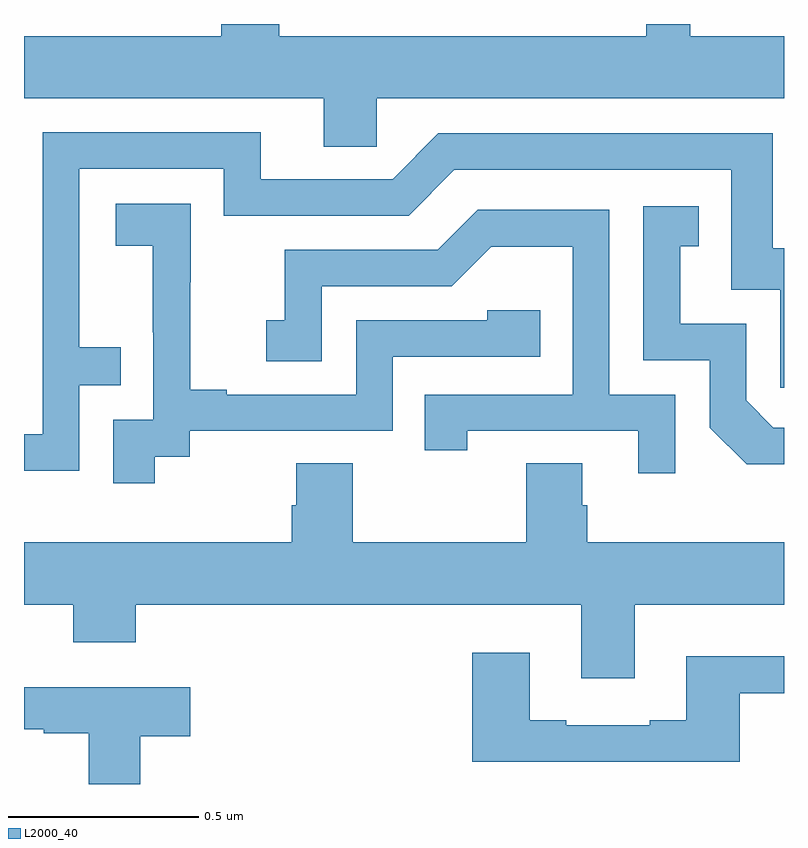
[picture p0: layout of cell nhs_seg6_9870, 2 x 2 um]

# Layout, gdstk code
import gdstk
lib = gdstk.Library(unit=1e-6, precision=1e-09)
def P(c, l, *ps):  # polygons
    for p in ps: c.add(gdstk.Polygon(p, *l))
L2000_40 = (2000, 40)

nhs_seg6_9870 = lib.new_cell('nhs_seg6_9870')
P(nhs_seg6_9870, L2000_40, [(239.928,979.304),(241,979.304),(241,979.468),(240.753,979.468),(240.753,979.5),(240.637,979.5),(240.637,979.468),(239.672,979.468),(239.672,979.5),(239.519,979.5),(239.519,979.468),(239,979.468),(239,979.304),(239.789,979.304),(239.789,979.177),(239.928,979.177)],
  [(239.145,978.549),(239.255,978.549),(239.255,978.65),(239.145,978.65),(239.145,979.119),(239.526,979.119),(239.526,978.996),(240.012,978.996),(240.132,979.116),(240.861,979.116),(240.861,978.801),(240.99,978.801),(240.99,978.543),(241,978.543),(241,978.91),(240.97,978.91),(240.97,979.212),(240.09,979.212),(239.97,979.092),(239.623,979.092),(239.623,979.215),(239.049,979.215),(239.049,978.42),(239,978.42),(239,978.324),(239.145,978.324)],
  [(239.344,978.361),(239.436,978.361),(239.436,978.429),(239.97,978.429),(239.97,978.624),(240.359,978.624),(240.359,978.747),(240.219,978.747),(240.219,978.72),(239.874,978.72),(239.874,978.525),(239.533,978.525),(239.533,978.538),(239.438,978.538),(239.438,978.821),(239.439,978.821),(239.439,979.027),(239.241,979.027),(239.241,978.917),(239.339,978.917),(239.339,978.689),(239.34,978.689),(239.34,978.459),(239.235,978.459),(239.235,978.291),(239.344,978.291)],
  [(241,978.438),(240.972,978.438),(240.9,978.51),(240.9,978.711),(240.727,978.711),(240.727,978.915),(240.776,978.915),(240.776,979.021),(240.63,979.021),(240.63,978.615),(240.804,978.615),(240.804,978.438),(240.902,978.341),(241,978.341)],
  [(240.714,978.525),(240.54,978.525),(240.54,979.011),(240.194,979.011),(240.089,978.906),(239.686,978.906),(239.686,978.721),(239.637,978.721),(239.637,978.612),(239.784,978.612),(239.784,978.81),(240.126,978.81),(240.23,978.914),(240.444,978.914),(240.444,978.525),(240.055,978.525),(240.055,978.378),(240.166,978.378),(240.166,978.429),(240.617,978.429),(240.617,978.318),(240.714,978.318)],
  [(240.467,977.778),(240.607,977.778),(240.607,977.972),(241,977.972),(241,978.136),(240.482,978.136),(240.482,978.234),(240.469,978.234),(240.469,978.344),(240.322,978.344),(240.322,978.136),(239.865,978.136),(239.865,978.344),(239.717,978.344),(239.717,978.234),(239.705,978.234),(239.705,978.136),(239,978.136),(239,977.972),(239.129,977.972),(239.129,977.873),(239.294,977.873),(239.294,977.972),(240.467,977.972)],
  [(240.883,977.739),(241,977.739),(241,977.836),(240.743,977.836),(240.743,977.668),(240.647,977.668),(240.647,977.655),(240.427,977.655),(240.427,977.668),(240.331,977.668),(240.331,977.845),(240.179,977.845),(240.179,977.558),(240.883,977.558)],
  [(239.306,977.626),(239.437,977.626),(239.437,977.755),(239,977.755),(239,977.644),(239.052,977.644),(239.052,977.633),(239.171,977.633),(239.171,977.5),(239.306,977.5)])

lib.write_gds('nhs_seg6_9870.gds')
